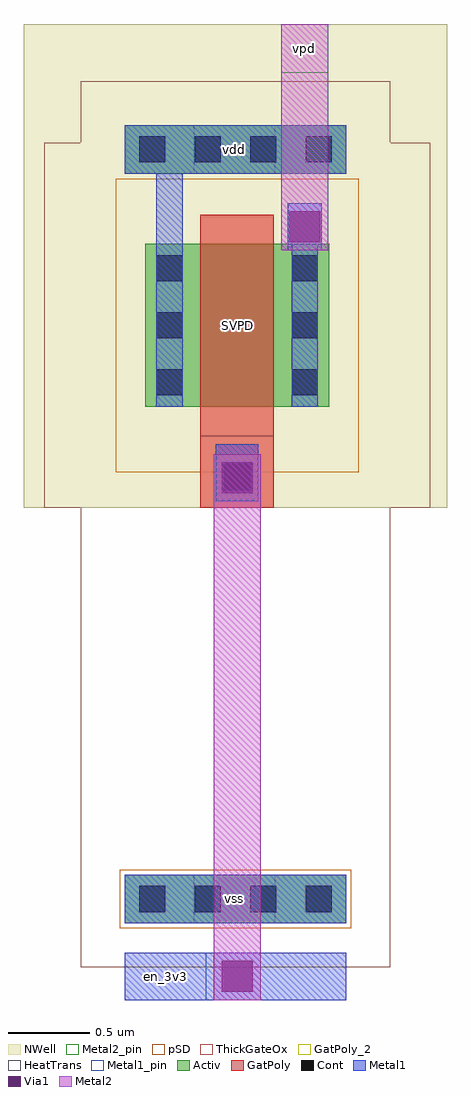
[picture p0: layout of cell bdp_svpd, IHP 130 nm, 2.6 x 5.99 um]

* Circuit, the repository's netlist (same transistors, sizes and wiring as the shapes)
* SPDX-FileCopyrightText: 2026 Christoph Maier
* SPDX-License-Identifier: Apache-2.0
* bdp_svpd (Claude, agent D, C4 2026-11-07). hv devices 1u/0.45u; every device as drawn.

.SUBCKT bdp_svpd en_3v3 vdd vpd vss
MSVPD vpd en_3v3 vdd vdd sg13_hv_pmos w=1u l=0.45u ng=1 m=1
.ENDS bdp_svpd

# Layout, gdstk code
import gdstk
lib = gdstk.Library(unit=1e-6, precision=1e-09)
def R(c, l, rs):  # rectangles x0, y0, x1, y1
    for r in rs: c.add(gdstk.rectangle(r[:2], r[2:], *l))
def A(c, l, x, y, w, h, nx, ny, dx, dy):  # array of equal rectangles
    R(c, l, [(x+i*dx, y+j*dy, x+i*dx+w, y+j*dy+h) for i in range(nx) for j in range(ny)])
Activ = (1, 0)
GatPoly = (5, 0)
GatPoly_2 = (5, 2)
Cont = (6, 0)
Metal1 = (8, 0)
Metal1_pin = (8, 2)
Metal2 = (10, 0)
Metal2_pin = (10, 2)
pSD = (14, 0)
Via1 = (19, 0)
NWell = (31, 0)
ThickGateOx = (44, 0)
HeatTrans = (51, 0)

pmoshv_w1_l0p45 = lib.new_cell('pmosHV_w1_l0p45')
R(pmoshv_w1_l0p45, Activ, [(0,0,0.3,0.3), (0,0,1.13,1), (0.83,0,1.13,0.3)])
R(pmoshv_w1_l0p45, GatPoly, [(0.34,-0.18,0.79,1.18)])
R(pmoshv_w1_l0p45, GatPoly_2, [(0.34,-0.18,0.79,1.18)])
A(pmoshv_w1_l0p45, Cont, 0.07, 0.07, 0.16, 0.16, 1, 3, 0, 0.35)
A(pmoshv_w1_l0p45, Cont, 0.9, 0.07, 0.16, 0.16, 1, 3, 0, 0.35)
R(pmoshv_w1_l0p45, Metal1, [(0.07,0,0.23,1), (0.9,0,1.06,1)])
R(pmoshv_w1_l0p45, Metal1_pin, [(0.07,0,0.23,1), (0.9,0,1.06,1)])
R(pmoshv_w1_l0p45, pSD, [(-0.18,-0.4,1.31,1.4)])
R(pmoshv_w1_l0p45, NWell, [(-0.62,-0.62,1.75,1.62)])
R(pmoshv_w1_l0p45, ThickGateOx, [(-0.62,-0.62,1.75,1.62)])
R(pmoshv_w1_l0p45, HeatTrans, [(0.34,-0.18,0.79,1.18)])
pmoshv_w1_l0p45.add(gdstk.Label('pmosHV', (0.565,0.5), layer=63, texttype=0))
pmoshv_w1_l0p45.add(gdstk.Label('pmos', (0.565,0.5), layer=51, texttype=0))

bdp_svpd = lib.new_cell('bdp_svpd')
R(bdp_svpd, Activ, [(-0.125,0,1.235,0.3), (-0.125,4.6,1.235,4.9)])
R(bdp_svpd, GatPoly, [(0.34,2.55,0.79,2.99)])
A(bdp_svpd, Cont, -0.035, 0.07, 0.16, 0.16, 4, 2, 0.34, 4.6)
R(bdp_svpd, Cont, [(0.485,2.66,0.645,2.82)])
R(bdp_svpd, Metal1, [(-0.125,-0.47,1.235,-0.18), (-0.125,0,1.235,0.3), (0.435,2.59,0.695,2.94), (0.875,4.13,1.085,4.42), (0.07,4.17,0.23,4.6), (-0.125,4.6,1.235,4.9)])
R(bdp_svpd, Metal1_pin, [(-0.125,-0.47,0.375,-0.18), (0.3,0,0.8,0.3), (0.3,4.6,0.8,4.9)])
R(bdp_svpd, Metal2, [(0.42,-0.47,0.71,2.88), (0.835,4.13,1.125,5.52)])
R(bdp_svpd, Metal2_pin, [(0.835,5.22,1.125,5.52)])
R(bdp_svpd, pSD, [(-0.155,-0.03,1.265,0.33)])
R(bdp_svpd, Via1, [(0.47,-0.42,0.66,-0.23), (0.47,2.64,0.66,2.83), (0.885,4.18,1.075,4.37)])
R(bdp_svpd, NWell, [(-0.745,2.55,1.855,5.52)])
R(bdp_svpd, ThickGateOx, [(-0.395,-0.27,1.505,5.17)])
bdp_svpd.add(gdstk.Reference(pmoshv_w1_l0p45, (0,3.17)))
bdp_svpd.add(gdstk.Label('en_3v3', (0.125,-0.325), layer=8, texttype=25))
bdp_svpd.add(gdstk.Label('vdd', (0.55,4.75), layer=8, texttype=25))
bdp_svpd.add(gdstk.Label('vss', (0.55,0.15), layer=8, texttype=25))
bdp_svpd.add(gdstk.Label('vpd', (0.98,5.37), layer=10, texttype=25))
bdp_svpd.add(gdstk.Label('SVPD', (0.565,3.67), layer=63, texttype=0))

lib.write_gds('bdp_svpd.gds')
